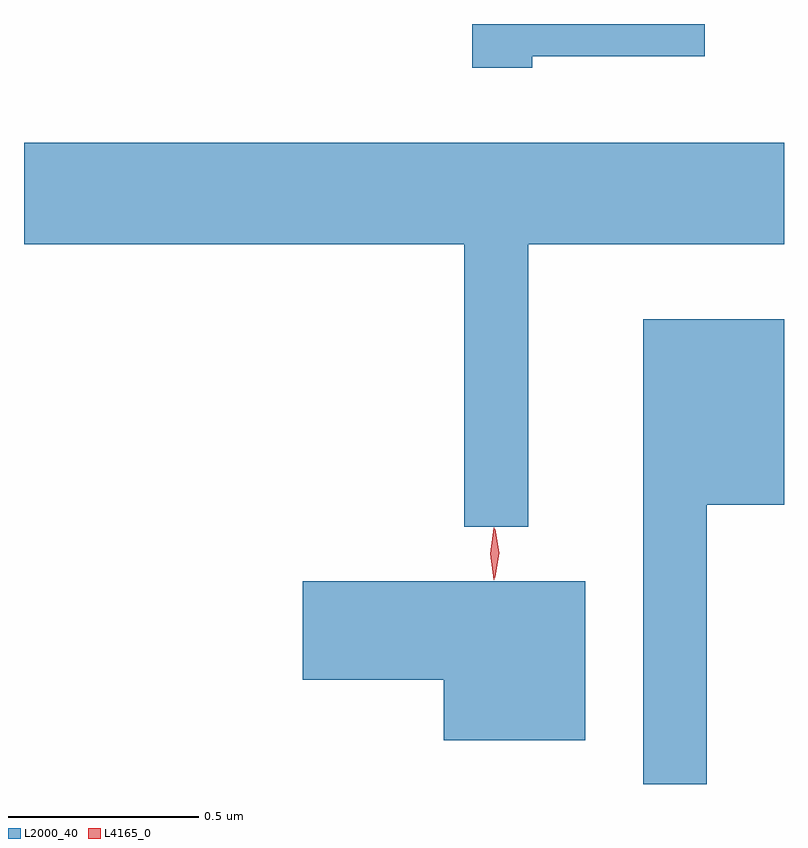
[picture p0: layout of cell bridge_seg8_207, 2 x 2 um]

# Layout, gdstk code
import gdstk
lib = gdstk.Library(unit=1e-6, precision=1e-09)
def P(c, l, *ps):  # polygons
    for p in ps: c.add(gdstk.Polygon(p, *l))
L2000_40 = (2000, 40)
L4165_0 = (4165, 0)

bridge_seg8_207 = lib.new_cell('bridge_seg8_207')
P(bridge_seg8_207, L2000_40, [(1163.469,1905.731),(1163.924,1905.731),(1163.924,1905.816),(1163.311,1905.816),(1163.311,1905.701),(1163.469,1905.701)],
  [(1163.459,1905.236),(1164.132,1905.236),(1164.132,1905.504),(1162.132,1905.504),(1162.132,1905.236),(1163.291,1905.236),(1163.291,1904.493),(1163.459,1904.493)],
  [(1163.929,1904.551),(1164.132,1904.551),(1164.132,1905.039),(1163.761,1905.039),(1163.761,1903.816),(1163.929,1903.816)],
  [(1163.609,1904.349),(1162.866,1904.349),(1162.866,1904.091),(1163.236,1904.091),(1163.236,1903.931),(1163.609,1903.931)])
P(bridge_seg8_207, L4165_0, [(1163.371,1904.36),(1163.362,1904.424),(1163.371,1904.486),(1163.372,1904.487),(1163.372,1904.486),(1163.382,1904.424),(1163.372,1904.36),(1163.372,1904.36)],
  [(1163.368,1904.354),(1163.359,1904.422),(1163.368,1904.49),(1163.369,1904.49),(1163.369,1904.49),(1163.379,1904.422),(1163.369,1904.354),(1163.369,1904.354)])

lib.write_gds('bridge_seg8_207.gds')
